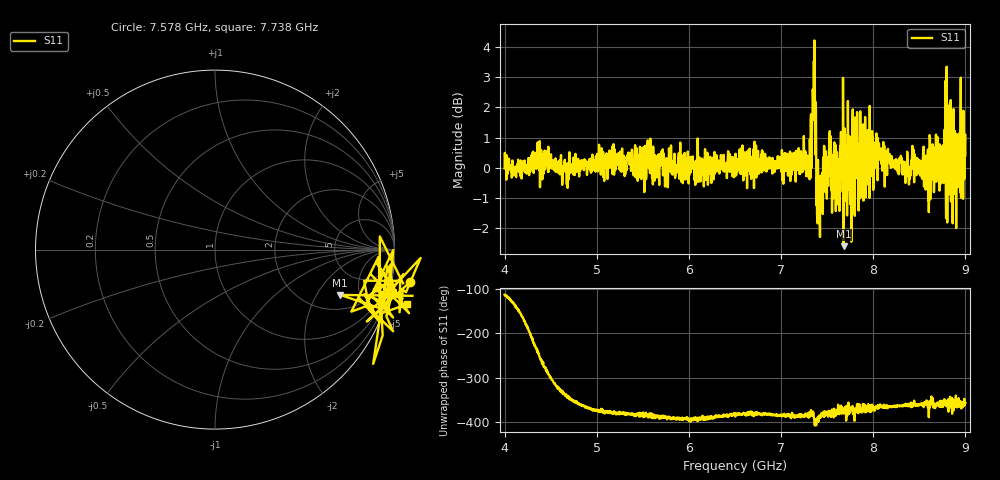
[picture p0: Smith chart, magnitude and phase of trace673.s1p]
! Created with skrf 1.8.0 (http://scikit-rf.org).
# Hz S RI R 50.0
!freq ReS11 ImS11
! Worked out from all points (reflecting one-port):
!   1601 points, 4 GHz to 9 GHz, reference 50 ohm
!   lowest |S11| = -2.6 dB at 7.678 GHz (marker M1), VSWR 6.76, Z = 145 - j163 ohm
!   phase of S11 starts at -113 deg and turns -243 deg over the sweep
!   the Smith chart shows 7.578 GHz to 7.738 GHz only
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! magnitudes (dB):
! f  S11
! 4 GHz  0.0
! 4.356 GHz  0.7
! 4.625 GHz  -0.6
! 5.25 GHz  0.1
! 5.875 GHz  0.1
! 6.5 GHz  0.1
! 7.125 GHz  -0.1
! 7.294 GHz  -0.3
! 7.347 GHz  2.3
! 7.369 GHz  1.6
! 7.409 GHz  -1.6
! 7.512 GHz  0.2
! 7.609 GHz  -0.9
! 7.65 GHz  1.2
! 7.678 GHz  -2.6
! 7.75 GHz  -1.2
! 7.775 GHz  1.5
! 7.812 GHz  0.6
! 8.05 GHz  1.0
! 8.375 GHz  0.1
! 8.434 GHz  0.0
! 8.603 GHz  -1.5
! 8.656 GHz  0.4
! 8.766 GHz  0.2
! 8.819 GHz  0.4
! 8.875 GHz  0.1
! 8.959 GHz  1.8
! 9 GHz  0.4
